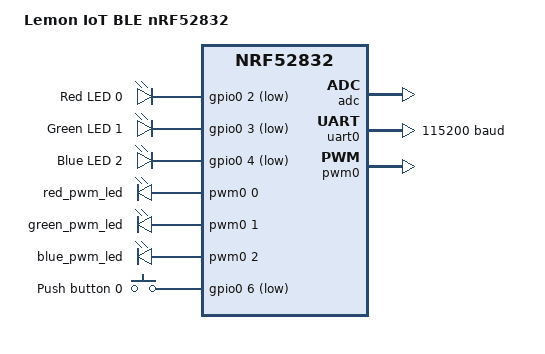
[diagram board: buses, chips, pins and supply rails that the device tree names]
/dts-v1/;
#include <nordic/nrf52832_qfaa.dtsi>
#include "lemon_iot_ble_nrf52832-pinctrl.dtsi"

/ {
	model = "Lemon IoT BLE nRF52832";
	compatible = "lemon-iot,lemon-iot-ble-nrf52832";

	chosen {
		zephyr,console = &uart0;
		zephyr,shell-uart = &uart0;
		zephyr,sram = &sram0;
		zephyr,flash = &flash0;
		zephyr,code-partition = &slot0_partition;
	};

	leds {
		compatible = "gpio-leds";
		led0: led_0 {
			gpios = <&gpio0 2 GPIO_ACTIVE_LOW>;
			label = "Red LED 0";
		};
		led1: led_1 {
			gpios = <&gpio0 3 GPIO_ACTIVE_LOW>;
			label = "Green LED 1";
		};
		led2: led_2 {
			gpios = <&gpio0 4 GPIO_ACTIVE_LOW>;
			label = "Blue LED 2";
		};
	};

	pwmleds {
		compatible = "pwm-leds";
		red_pwm_led: pwm_led_0 {
			pwms = <&pwm0 0 PWM_MSEC(20) PWM_POLARITY_INVERTED>;
		};
		green_pwm_led: pwm_led_1 {
			pwms = <&pwm0 1 PWM_MSEC(20) PWM_POLARITY_INVERTED>;
		};
		blue_pwm_led: pwm_led_2 {
			pwms = <&pwm0 2 PWM_MSEC(20) PWM_POLARITY_INVERTED>;
		};
	};

	buttons {
		compatible = "gpio-keys";
		button0: button_0 {
			gpios = <&gpio0 6 (GPIO_PULL_UP | GPIO_ACTIVE_LOW)>;
			label = "Push button 0";
		};
	};

	/* These aliases are provided for compatibility with samples */
	aliases {
		led0 = &led0;
		led1 = &led1;
		led2 = &led2;
		pwm-led0 = &red_pwm_led;
		pwm-led1 = &green_pwm_led;
		pwm-led2 = &blue_pwm_led;
		red-pwm-led = &red_pwm_led;
		green-pwm-led = &green_pwm_led;
		blue-pwm-led = &blue_pwm_led;
		sw0 = &button0;
		bootloader-led0 = &led0;
		mcuboot-button0 = &button0;
		mcuboot-led0 = &led0;
		watchdog0 = &wdt0;
	};
};

&reg {
	regulator-initial-mode = <NRF5X_REG_MODE_DCDC>;
};

&adc {
	status = "okay";
};

&uicr {
	gpio-as-nreset;
};

&gpiote {
	status = "okay";
};

&gpio0 {
	status = "okay";
};

&uart0 {
	status = "okay";
	compatible = "nordic,nrf-uarte";
	current-speed = <115200>;
	pinctrl-0 = <&uart0_default>;
	pinctrl-1 = <&uart0_sleep>;
	pinctrl-names = "default", "sleep";
};

&pwm0 {
	status = "okay";
	pinctrl-0 = <&pwm0_default>;
	pinctrl-1 = <&pwm0_sleep>;
	pinctrl-names = "default", "sleep";
};

&flash0 {
	partitions {
		compatible = "fixed-partitions";
		#address-cells = <1>;
		#size-cells = <1>;

		boot_partition: partition@0 {
			label = "mcuboot";
			reg = <0x00000000 DT_SIZE_K(48)>;
		};

		slot0_partition: partition@c000 {
			label = "image-0";
			reg = <0x0000c000 DT_SIZE_K(220)>;
		};

		slot1_partition: partition@43000 {
			label = "image-1";
			reg = <0x00043000 DT_SIZE_K(220)>;
		};

		storage_partition: partition@7a000 {
			label = "storage";
			reg = <0x0007a000 DT_SIZE_K(24)>;
		};
	};
};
